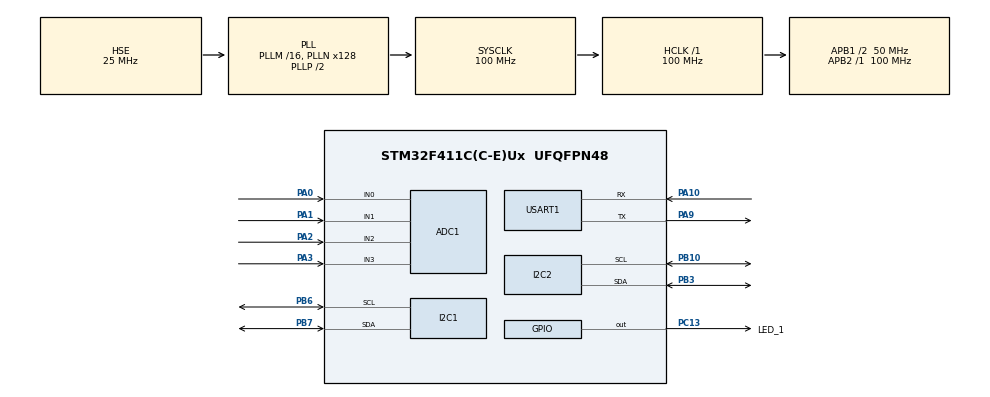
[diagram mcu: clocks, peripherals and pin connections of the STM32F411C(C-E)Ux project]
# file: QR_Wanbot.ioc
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ADC1.Channel-0\#ChannelRegularConversion=ADC_CHANNEL_0
ADC1.Channel-1\#ChannelRegularConversion=ADC_CHANNEL_1
ADC1.Channel-2\#ChannelRegularConversion=ADC_CHANNEL_2
ADC1.Channel-3\#ChannelRegularConversion=ADC_CHANNEL_3
ADC1.ContinuousConvMode=ENABLE
ADC1.DMAContinuousRequests=ENABLE
ADC1.EOCSelection=ADC_EOC_SEQ_CONV
ADC1.NbrOfConversion=4
ADC1.NbrOfConversionFlag=1
ADC1.Rank-0\#ChannelRegularConversion=1
ADC1.Rank-1\#ChannelRegularConversion=2
ADC1.Rank-2\#ChannelRegularConversion=3
ADC1.Rank-3\#ChannelRegularConversion=4
ADC1.SamplingTime-0\#ChannelRegularConversion=ADC_SAMPLETIME_480CYCLES
ADC1.SamplingTime-1\#ChannelRegularConversion=ADC_SAMPLETIME_480CYCLES
ADC1.SamplingTime-2\#ChannelRegularConversion=ADC_SAMPLETIME_480CYCLES
ADC1.SamplingTime-3\#ChannelRegularConversion=ADC_SAMPLETIME_480CYCLES
ADC1.ScanConvMode=ENABLE
ADC1.master=1
Dma.ADC1.0.Direction=DMA_PERIPH_TO_MEMORY
Dma.ADC1.0.FIFOMode=DMA_FIFOMODE_DISABLE
Dma.ADC1.0.Instance=DMA2_Stream0
Dma.ADC1.0.MemDataAlignment=DMA_MDATAALIGN_HALFWORD
Dma.ADC1.0.MemInc=DMA_MINC_ENABLE
Dma.ADC1.0.Mode=DMA_CIRCULAR
Dma.ADC1.0.PeriphDataAlignment=DMA_PDATAALIGN_HALFWORD
Dma.ADC1.0.PeriphInc=DMA_PINC_DISABLE
Dma.ADC1.0.Priority=DMA_PRIORITY_LOW
Dma.Request0=ADC1
FREERTOS.Tasks01=MainTask,24,1000,Mainfunc,Default,NULL,Dynamic,NULL,NULL;CalcTask,24,1000,CalcFunc,Default,NULL,Dynamic,NULL,NULL
FREERTOS.configTOTAL_HEAP_SIZE=20000
FREERTOS.configUSE_NEWLIB_REENTRANT=1
Mcu.Family=STM32F4
Mcu.Name=STM32F411C(C-E)Ux
Mcu.Package=UFQFPN48
NVIC.DMA2_Stream0_IRQn=true\:6\:0\:true\:false\:true\:false\:false\:true\:true
NVIC.PriorityGroup=NVIC_PRIORITYGROUP_4
NVIC.USART1_IRQn=true\:5\:0\:false\:true\:true\:1\:true\:true\:true\:true
PA0-WKUP.Signal=ADCx_IN0
PA1.Signal=ADCx_IN1
PA10.Mode=Asynchronous
PA10.Signal=USART1_RX
PA2.Signal=ADCx_IN2
PA3.Signal=ADCx_IN3
PA9.Mode=Asynchronous
PA9.Signal=USART1_TX
PB10.Mode=I2C
PB10.Signal=I2C2_SCL
PB3.Mode=I2C
PB3.Signal=I2C2_SDA
PB6.Mode=I2C
PB6.Signal=I2C1_SCL
PB7.Mode=I2C
PB7.Signal=I2C1_SDA
PC13-ANTI_TAMP.GPIO_Label=LED_1
PC13-ANTI_TAMP.Signal=GPIO_Output
PC14-OSC32_IN.Mode=LSE-External-Oscillator
PC14-OSC32_IN.Signal=RCC_OSC32_IN
PC15-OSC32_OUT.Mode=LSE-External-Oscillator
PC15-OSC32_OUT.Signal=RCC_OSC32_OUT
PH0\ -\ OSC_IN.Mode=HSE-External-Oscillator
PH0\ -\ OSC_IN.Signal=RCC_OSC_IN
PH1\ -\ OSC_OUT.Mode=HSE-External-Oscillator
PH1\ -\ OSC_OUT.Signal=RCC_OSC_OUT
ProjectManager.HeapSize=0x200
ProjectManager.StackSize=0x400
ProjectManager.TargetToolchain=STM32CubeIDE
RCC.48MHZClocksFreq_Value=50000000
RCC.AHBFreq_Value=100000000
RCC.APB1CLKDivider=RCC_HCLK_DIV2
RCC.APB1Freq_Value=50000000
RCC.APB1TimFreq_Value=100000000
RCC.APB2Freq_Value=100000000
RCC.APB2TimFreq_Value=100000000
RCC.CortexFreq_Value=100000000
RCC.HCLKFreq_Value=100000000
RCC.HSE_VALUE=25000000
RCC.HSI_VALUE=16000000
RCC.PLLN=128
RCC.PLLSourceVirtual=RCC_PLLSOURCE_HSE
RCC.SYSCLKFreq_VALUE=100000000
RCC.SYSCLKSource=RCC_SYSCLKSOURCE_PLLCLK
RCC.VCOOutputFreq_Value=200000000
SH.ADCx_IN0.0=ADC1_IN0,IN0
SH.ADCx_IN1.0=ADC1_IN1,IN1
SH.ADCx_IN2.0=ADC1_IN2,IN2
SH.ADCx_IN3.0=ADC1_IN3,IN3
USART1.VirtualMode=VM_ASYNC
VP_FREERTOS_VS_CMSIS_V2.Mode=CMSIS_V2
board=custom

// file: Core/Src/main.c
/* USER CODE BEGIN Header */
/**
  ******************************************************************************
  * @file           : main.c
  * @brief          : Main program body
  ******************************************************************************
  * @attention
  *
  * Copyright (c) 2025 STMicroelectronics.
  * All rights reserved.
  *
  * This software is licensed under terms that can be found in the LICENSE file
  * in the root directory of this software component.
  * If no LICENSE file comes with this software, it is provided AS-IS.
  *
  ******************************************************************************
  */
/* USER CODE END Header */
#include "main.h"
#include "cmsis_os.h"
#include "adc.h"
#include "dma.h"
#include "i2c.h"
#include "usart.h"
#include "gpio.h"

void SystemClock_Config(void);
void MX_FREERTOS_Init(void);
static void MX_NVIC_Init(void);

int main(void)
{

  /* MCU Configuration--------------------------------------------------------*/

  /* Reset of all peripherals, Initializes the Flash interface and the Systick. */
  HAL_Init();

  /* Configure the system clock */
  SystemClock_Config();

  /* Initialize all configured peripherals */
  MX_GPIO_Init();
  MX_DMA_Init();
  MX_I2C1_Init();
  MX_I2C2_Init();
  MX_USART1_UART_Init();
  MX_ADC1_Init();

  /* Initialize interrupts */
  MX_NVIC_Init();

  /* Init scheduler */
  osKernelInitialize();  /* Call init function for freertos objects (in cmsis_os2.c) */
  MX_FREERTOS_Init();

  /* Start scheduler */
  osKernelStart();

  /* We should never get here as control is now taken by the scheduler */

  /* Infinite loop */
  while (1)
  {

  }
}

void SystemClock_Config(void)
{
  RCC_OscInitTypeDef RCC_OscInitStruct = {0};
  RCC_ClkInitTypeDef RCC_ClkInitStruct = {0};

  /** Configure the main internal regulator output voltage
  */
  __HAL_RCC_PWR_CLK_ENABLE();
  __HAL_PWR_VOLTAGESCALING_CONFIG(PWR_REGULATOR_VOLTAGE_SCALE1);

  /** Initializes the RCC Oscillators according to the specified parameters
  * in the RCC_OscInitTypeDef structure.
  */
  RCC_OscInitStruct.OscillatorType = RCC_OSCILLATORTYPE_HSE;
  RCC_OscInitStruct.HSEState = RCC_HSE_ON;
  RCC_OscInitStruct.PLL.PLLState = RCC_PLL_ON;
  RCC_OscInitStruct.PLL.PLLSource = RCC_PLLSOURCE_HSE;
  RCC_OscInitStruct.PLL.PLLM = 16;
  RCC_OscInitStruct.PLL.PLLN = 128;
  RCC_OscInitStruct.PLL.PLLP = RCC_PLLP_DIV2;
  RCC_OscInitStruct.PLL.PLLQ = 4;
  if (HAL_RCC_OscConfig(&RCC_OscInitStruct) != HAL_OK)
  {
    Error_Handler();
  }

  /** Initializes the CPU, AHB and APB buses clocks
  */
  RCC_ClkInitStruct.ClockType = RCC_CLOCKTYPE_HCLK|RCC_CLOCKTYPE_SYSCLK
                              |RCC_CLOCKTYPE_PCLK1|RCC_CLOCKTYPE_PCLK2;
  RCC_ClkInitStruct.SYSCLKSource = RCC_SYSCLKSOURCE_PLLCLK;
  RCC_ClkInitStruct.AHBCLKDivider = RCC_SYSCLK_DIV1;
  RCC_ClkInitStruct.APB1CLKDivider = RCC_HCLK_DIV2;
  RCC_ClkInitStruct.APB2CLKDivider = RCC_HCLK_DIV1;

  if (HAL_RCC_ClockConfig(&RCC_ClkInitStruct, FLASH_LATENCY_3) != HAL_OK)
  {
    Error_Handler();
  }
}

/**
  * @brief NVIC Configuration.
  * @retval None
  */
static void MX_NVIC_Init(void)
{
  /* USART1_IRQn interrupt configuration */
  HAL_NVIC_SetPriority(USART1_IRQn, 5, 0);
  HAL_NVIC_EnableIRQ(USART1_IRQn);
}

void Error_Handler(void)
{
  /* USER CODE BEGIN Error_Handler_Debug */
  /* User can add his own implementation to report the HAL error return state */
	HAL_GPIO_WritePin(LED_1_GPIO_Port, LED_1_Pin, GPIO_PIN_RESET);
  __disable_irq();
  while (1)
  {
  }
  /* USER CODE END Error_Handler_Debug */
}

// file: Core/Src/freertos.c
/* USER CODE BEGIN Header */
/**
 ******************************************************************************
 * File Name          : freertos.c
 * Description        : Code for freertos applications
 ******************************************************************************
 * @attention
 *
 * Copyright (c) 2025 STMicroelectronics.
 * All rights reserved.
 *
 * This software is licensed under terms that can be found in the LICENSE file
 * in the root directory of this software component.
 * If no LICENSE file comes with this software, it is provided AS-IS.
 *
 ******************************************************************************
 */
/* USER CODE END Header */

#include "FreeRTOS.h"
#include "task.h"
#include "main.h"
#include "cmsis_os.h"

/* USER CODE BEGIN PTD */
typedef struct {
	float position[4][3];      // [leg][x,y,z]
	float body_angles[4][3];   // [leg][pitch,roll,yaw]
	float joint_angles[4][3];  // [leg][hip,thigh,calf]
	float rotation[3];         // [pitch,roll,yaw]
	float req_rotation[3];     // Requested orientation
	float velocity[3];         // [vx, vy, v_yaw]
	float offsets[4][3];       // Leg offsets
	float config_pitch_offset;
	float config_roll_offset;
	float step_height;
	float hind_step_height;
	float step_length;
	int step_pace;
} RobotState_t;

RobotState_t state;
Srv_Drv_t pca9865;
MPU6050_t mpu6050;
SPID_t pid_pitch;
SPID_t pid_roll;
/* USER CODE END PTD */

/* USER CODE BEGIN PD */
uint16_t pulses[12] = {0,0,0,0,0,0,0,0,0,0,0,0};

float pitch_error, pitch_output, pitch_sum;
float roll_error, roll_output, roll_sum;

float body_height = 0.169;
float X_setpoint = 0.00, prev_X_setpoint = 0.0, Y_setpoint = 0.00, prev_Y_setpoint = 0.00, Turn_setpoint = 0.0, prev_Turn_setpoint = 0.0;
char tx_buffer[128];
char rx_buffer[128];
char num_conv[6];
char rx;

uint16_t  AD_RES_BUFFER[4];
float  force_sensors[4];

uint8_t rx_index = 0;
uint8_t pressed_button = 0;
uint32_t ticks;
enum buttons{STOP=0, A, B, C, D, X, Y, START, L1, R1};
enum modes{WALK = 0, TROT, GALLOP, AUTO, CALIBRATION};
uint8_t slider_speed = 0.0, slider_angle = 0.0;
int J1x = 0.0, J1y = 0.0, J2x = 0.0, J2y = 0.0;
uint8_t mode;
uint8_t disable_inv = 0;
uint8_t stair_climb_mode = 0;
float stair_hieght_offset = 0.00;

#define K_PITCH_BALANCE_X -0.0000
#define K_ROLL_BALANCE_Y -0.0000

#define FL_HIEGHT_OFFSET 0.001
#define FR_HIEGHT_OFFSET -0.001
#define BL_HIEGHT_OFFSET 0.002
#define BR_HIEGHT_OFFSET -0.007

#define front_left_side_offset 0.000
#define back_left_side_offset 0.000

#define front_right_side_offset 0.00
#define back_right_side_offset 0.000

// Force Balancing
float force_height_offsets[4] = {0,0,0,0};
float force_sensor_offsets[4] = {90.47f, 88.12f, 88.46f, 88.02f};
#define K_FORCE_BALANCER 0.00005f
#define MAX_FORCE_HEIGHT_OFFSET 0.020f
#define FORCE_TOLERANCE 3.0f

#define K_RAIBERT 0.007f  // Raibert heuristic gain
#define SWING_HEIGHT 0.038f

#define START_IN_CALIBRATION 0 // Set to 1 to start in Calibration Mode [90,0,90]

/* USER CODE END PD */

/* Definitions for MainTask */
osThreadId_t MainTaskHandle;
const osThreadAttr_t MainTask_attributes = {
		.name = "MainTask",
		.stack_size = 1000 * 4,
		.priority = (osPriority_t) osPriorityNormal,
};
/* Definitions for CalcTask */
osThreadId_t CalcTaskHandle;
const osThreadAttr_t CalcTask_attributes = {
		.name = "CalcTask",
		.stack_size = 1000 * 4,
		.priority = (osPriority_t) osPriorityNormal,
};

void Square_Test(void);
void Walk_Forward_Test(void);

void Mainfunc(void *argument);
void CalcFunc(void *argument);

void MX_FREERTOS_Init(void); /* (MISRA C 2004 rule 8.1) */

void MX_FREERTOS_Init(void) {

	/* Create the thread(s) */
	/* creation of MainTask */
	MainTaskHandle = osThreadNew(Mainfunc, NULL, &MainTask_attributes);

	/* creation of CalcTask */
	CalcTaskHandle = osThreadNew(CalcFunc, NULL, &CalcTask_attributes);

}

void Mainfunc(void *argument)
{
	/* USER CODE BEGIN Mainfunc */
	//	disable_inv = 1;

#if START_IN_CALIBRATION
	mode = CALIBRATION;
#else
	Rise();
	mode = TROT;
#endif
	// HAL_UART_Init is already called in main.c
	HAL_UART_Receive_IT(&huart1, &rx, 1);
	HAL_ADC_Start_DMA(&hadc1, AD_RES_BUFFER, 4);

	for(;;)
	{
		ticks = HAL_GetTick();
		X_setpoint = (J1y * state.step_length) * 0.05 + prev_X_setpoint * 0.95;
		if(fabs(X_setpoint - 0.0) < 0.00002) X_setpoint = 0.0;
		prev_X_setpoint = X_setpoint;
		Y_setpoint = (J1x * state.step_length * 0.8)* 0.05 + prev_Y_setpoint * 0.95;
		if(fabs(Y_setpoint - 0.0) < 0.00002) Y_setpoint = 0.0;
		prev_Y_setpoint = Y_setpoint;
		Turn_setpoint = (J2x * state.step_length * 0.5) * 0.05 + prev_Turn_setpoint * 0.95;
		if(fabs(Turn_setpoint - 0.0) < 0.00002) Turn_setpoint = 0.0;
		prev_Turn_setpoint = Turn_setpoint;

		if (mode == CALIBRATION) {
			for(int i=0; i<4; i++) {
				state.joint_angles[i][0] = 1.5708f; // Hip 90
				state.joint_angles[i][1] = 3.14f;    // Upper 180
				state.joint_angles[i][2] = 1.5708f; // Lower 90
			}
		} else if(X_setpoint != 0.0 || Y_setpoint != 0.0 || state.rotation[2] != 0 || Turn_setpoint != 0.0){
			Gait_controller(ticks, X_setpoint, Y_setpoint, Turn_setpoint);
		}else{
			Stand();
		}

		if(stair_climb_mode == 0){
			state.req_rotation[0] = ((0.0025 * J2y) * 57.3248);
			state.req_rotation[1] = 0.0;
		}

		if(pressed_button == C){
			//			while(pressed_button == C);
			Walk_Forward_Test();
		}

		if(pressed_button == L1){
			state.rotation[2] = -0.12;
		}else if (pressed_button == R1){
			state.rotation[2] = 0.12;
		}else{
			state.rotation[2] = 0.0;
		}

		if (pressed_button == A){
			while(pressed_button == A);
			HiWave();
		}

		if (pressed_button == D){
			while(pressed_button == D);
			Square_Test();
			pressed_button = STOP;
		}

		//		if (pressed_button == C){
		//			while(pressed_button == C);
		//			Scratch();
		//		}

		if (pressed_button == X){
			while(pressed_button == X);
			stair_climb_mode += 1;
			if(stair_climb_mode>=2){
				stair_climb_mode=2;
			}

			sprintf(tx_buffer,"%d %d %s 0\r\n",(int)(-mpu6050.roll), (int)(mpu6050.pitch), stair_climb_mode == 2? "Flat Climb":"Inclined Climb");
			HAL_UART_Transmit_IT(&huart1, (uint8_t*)tx_buffer, strlen(tx_buffer));
		}

		if (pressed_button == Y){
			while(pressed_button == Y);
			stair_climb_mode -= 1;
			if(stair_climb_mode<=0){
				stair_climb_mode=0;
			}
			sprintf(tx_buffer,"%d %d %s 0\r\n",(int)(-mpu6050.roll), (int)(mpu6050.pitch), stair_climb_mode == 1? "Inclined Climb":"Trot");
			HAL_UART_Transmit_IT(&huart1, (uint8_t*)tx_buffer, strlen(tx_buffer));
		}

		if(stair_climb_mode == 2){
			state.config_pitch_offset = -0.15;
			stair_hieght_offset = 0.000;
			state.step_length = 0.00049;
			state.step_pace = 820;
			state.step_height = 0.055;
			state.hind_step_height = 0.060;

		}else if (stair_climb_mode == 1){
			state.config_pitch_offset = 2.95;
			stair_hieght_offset = 0.000;
			state.step_length = 0.00049;
			state.step_pace = 820;
			state.step_height = 0.055;
			state.hind_step_height = 0.060;

		}else{
			state.config_pitch_offset = -1.55; //1.55
			stair_hieght_offset = 0.0;
			state.step_length = 0.00038;
			state.step_pace = 650;
			state.step_height = 0.038;
			state.hind_step_height = 0.038;
		}

		if (pressed_button == B){
			//		HAL_UART_Transmit_IT(&huart1, data, strlen(data));
			while(pressed_button == B);
			if(mode == TROT){
				mode = WALK;
			}else if (mode == WALK){
				mode = TROT;
			}else if (mode == CALIBRATION){
				mode = TROT;
			}

			//			sprintf(data,"%d %d %s 0\r\n",(int)(-mpu6050.roll), (int)(mpu6050.pitch), mode? "Trot":"Walk");
			//			HAL_UART_Transmit_IT(&huart1, data, strlen(data));
		}

		//		sprintf(data,"%.3f %.3f %.3f %.3f\r\n", force_sensors[0], force_sensors[1], force_sensors[2], force_sensors[3]);
		//		sprintf(data,"waw\r\n");
		//
		//		HAL_UART_Transmit_IT(&huart1, data, strlen(data));
		//		HAL_GPIO_TogglePin(LED_1_GPIO_Port, LED_1_Pin);
		//		if(ticks == 0 && ticks == 2 && ticks == 3 && ticks == 5 && mode == TROT){

		//		sprintf(tx_buffer,"%f, %f\r\n",(-mpu6050.roll), (mpu6050.pitch));
		//		HAL_UART_Transmit_IT(&huart1, (uint8_t*)tx_buffer, strlen(tx_buffer));

		static uint32_t last_print = 0;
		if (mode != CALIBRATION && ticks - last_print >= 200) {
			last_print = ticks;
			sprintf(tx_buffer,"F:%.1f %.1f %.1f %.1f | O:%.3f %.3f %.3f %.3f\r\n",
					force_sensors[0], force_sensors[1], force_sensors[2], force_sensors[3],
					force_height_offsets[0], force_height_offsets[1], force_height_offsets[2], force_height_offsets[3]);
			HAL_UART_Transmit_IT(&huart1, (uint8_t*)tx_buffer, strlen(tx_buffer));
		}
		HAL_Delay(1);
		//		}else if (mode == TROT){
		//			HAL_Delay(175);
		//		}else{
		//			HAL_Delay(250);
		//		}

		// Initilization for Servo Motors
		//		FL_angles[0] = 1.57;
		//		FL_angles[1] = 1.57;
		//		FL_angles[2] = 1.57;
		//
		//		FR_angles[0] = 1.57;
		//		FR_angles[1] = 1.57;
		//		FR_angles[2] = 1.57;
		//		//
		//		BL_angles[0] = 1.57;
		//		BL_angles[1] = 1.57;
		//		BL_angles[2] = 1.57;
		//
		//		BR_angles[0] = 1.57;
		//		BR_angles[1] = 1.57;
		//		BR_angles[2] = 1.57;

		//Up Down Code
		//		FL_position[2] = 0.13;
		//		HAL_Delay(500);
		//		FL_position[2] = 0.15;
		//		HAL_Delay(500);

		// Jumping Code
		//		FL_position[2] = 0.09;
		//		HAL_Delay(500);
		//		FL_position[2] = 0.15;
		//		HAL_Delay(150);
		//		FL_position[2] = 0.09;
		//		HAL_Delay(1000);

	}
	/* USER CODE END Mainfunc */
}

void CalcFunc(void *argument)
{
	/* USER CODE BEGIN CalcFunc */
	//	disable_inv = 1;
	state.offsets[0][0] = 0.087; state.offsets[0][1] = 0.349; state.offsets[0][2] = 0.524;
	state.offsets[1][0] = -1.309; state.offsets[1][1] = -0.262; state.offsets[1][2] = 0.175;
	state.offsets[2][0] = -0.20; state.offsets[2][1] = -0.314; state.offsets[2][2] = 0.436;
	state.offsets[3][0] = -0.559; state.offsets[3][1] = 0.1921; state.offsets[3][2] = 0.18;

	state.config_pitch_offset = -0.55;
	state.config_roll_offset = -12.5;
	state.step_pace = 820;
	state.step_length = 0.00036;
	state.step_height = 0.036;
	state.hind_step_height = 0.036;

	HAL_Delay(300);
	ServoDriverInit(&pca9865, &hi2c1, SERVO_DRIVER_ADDRESS);
	MPUInit(&mpu6050, &hi2c2, MPU6050_DataRate_100Hz, MPU6050_Accelerometer_2G, MPU6050_Gyroscope_250s, 0.01, 0.5);
	MPUSetOffsets(&mpu6050, -944, -600, -590, 1130, 16, 923);
	SPIDInit(&pid_pitch, &pitch_error, &pitch_output, 0.01, 0.8, 0.05, 0.10, 0.10, 0.0005, 1.0/30.0, 0.20);
	SPIDInit(&pid_roll, &roll_error, &roll_output, 0.01, 0.8, 0.05, 0.10, 0.10, 0.0005, 1.0/30.0, 0.20);
	//		HAL_GPIO_TogglePin(GPIOC, GPIO_PIN_13);

	/* Infinite loop */
	for(;;)
	{
		//		osSemaphoreAcquire(sendSemaphoreHandle, osWaitForever);
#if START_IN_CALIBRATION

#else
		MPUReqAccGyro(&mpu6050);
		CompPitchRoll(&mpu6050);
		pitch_error = state.req_rotation[0] - (-mpu6050.roll + state.config_pitch_offset);  // Increase to move back
		roll_error = state.req_rotation[1] - (mpu6050.pitch +  state.config_roll_offset);  // decrease to tilt right
		if(fabsf(pitch_error) > 4.0){
			SPIDLoop(&pid_pitch);
			pitch_sum+=pitch_output;
			if (pitch_sum > 0.45) pitch_sum = 0.45;
			if (pitch_sum < -0.45) pitch_sum = -0.45;
			state.rotation[0]= pitch_sum;
		}
		if(fabsf(roll_error) > 4.0){
			SPIDLoop(&pid_roll);
			roll_sum+=roll_output;
			if (roll_sum > 0.45) roll_sum = 0.45;
			if (roll_sum < -0.45) roll_sum = -0.45;
			state.rotation[1]= roll_sum;

		}

		//		if(fabsf(state.rotation[0] - pitch_sum) >= 0.05)

		//		if(fabsf(state.rotation[1] - roll_sum) >= 0.05)

		//		--- Force Balancing Logic ---
		//		float total_force = 0;
		//		for (int i = 0; i < 4; i++) {
		//			total_force += force_sensors[i];
		//		}
		//		float avg_force = total_force / 4.0f;
		//
		//		float offset_sum = 0;
		//		for (int i = 0; i < 4; i++) {
		//			float force_error = force_sensors[i] - avg_force;
		//
		//			// Only adjust if error is outside tolerance (deadband)
		//			if (fabsf(force_error) > FORCE_TOLERANCE) {
		//				force_height_offsets[i] -= K_FORCE_BALANCER * force_error;
		//			}
		//			offset_sum += force_height_offsets[i];
		//		}
		//
		//		// Constrain sum of offsets to 0 to prevent the whole robot from sinking or rising
		//		float avg_offset = offset_sum / 4.0f;
		//		for (int i = 0; i < 4; i++) {
		//			force_height_offsets[i] -= avg_offset;
		//
		//			// Clamp the offset to prevent excessive leg movement
		//			if (force_height_offsets[i] > MAX_FORCE_HEIGHT_OFFSET) force_height_offsets[i] = MAX_FORCE_HEIGHT_OFFSET;
		//			if (force_height_offsets[i] < -MAX_FORCE_HEIGHT_OFFSET) force_height_offsets[i] = -MAX_FORCE_HEIGHT_OFFSET;
		//		}
		inverse_kinematics_all();
#endif

		load_angles();
		ServoDriverSetOnOff_Multi(&pca9865, 0, 12, pulses);
		HAL_Delay(5);
	}
	/* USER CODE END CalcFunc */
}

/* USER CODE BEGIN Application */
void HAL_UART_RxCpltCallback(UART_HandleTypeDef *huart){
	//	HAL_GPIO_TogglePin(GPIOC, GPIO_PIN_13);

	if(rx != '\n' && rx_index < 127){
		rx_buffer[rx_index] = rx;
		rx_index +=1;
	}else{
		rx_buffer[rx_index] = rx;
		rx_index = 0;

		switch(rx_buffer[0]){
		case 'A' :
			pressed_button = A;
			break;
		case 'B' :
			pressed_button = B;
			break;
		case 'C' :
			pressed_button = C;
			break;
		case 'D' :
			pressed_button = D;
			break;
		case 'X' :
			pressed_button = X;
			break;
		case 'Y' :
			pressed_button = Y;
			break;
		case 'R' :
			pressed_button = R1;
			break;
		case 'K' :
			mode = CALIBRATION;
			sprintf(tx_buffer, "Entering CALIBRATION Mode\r\n");
			HAL_UART_Transmit_IT(&huart1, (uint8_t*)tx_buffer, strlen(tx_buffer));
			break;
		case 'O' : // Offset command: O <leg> <joint> <value_deg>
		{
			int leg = 0, joint = 0;
			float val = 0.0f;
			// Format: O 0 1 5.5
			if (sscanf(rx_buffer, "O %d %d %f", &leg, &joint, &val) == 3) {
				if (leg >= 0 && leg < 4 && joint >= 0 && joint < 3) {
					state.offsets[leg][joint] = val * 0.0174533f; // Convert degrees to radians
					sprintf(tx_buffer, "Leg %d Offsets(rad): H:%.3f U:%.3f L:%.3f\r\n",
							leg, state.offsets[leg][0], state.offsets[leg][1], state.offsets[leg][2]);
					HAL_UART_Transmit_IT(&huart1, (uint8_t*)tx_buffer, strlen(tx_buffer));
				}
			}
		}
		break;
		case 'S' :
			if(rx_buffer[1] == 'T'){
				pressed_button = START;
			}else if(rx_buffer[1] == '1'){

				uint8_t joy_index = 2;
				memset(num_conv,'_',6);
				while( rx_buffer[joy_index] != '\n'){
					num_conv[joy_index] = rx_buffer[joy_index];
					joy_index+=1;
				}
				slider_speed = (uint8_t)(atoi(num_conv));

			}else if(rx_buffer[1] == '2'){

				uint8_t joy_index = 2;
				memset(num_conv,'_',6);
				while( rx_buffer[joy_index] != '\n'){
					num_conv[joy_index] = rx_buffer[joy_index];
					joy_index+=1;
				}
				slider_angle = (uint8_t)(atoi(num_conv));

			}else{
				pressed_button = STOP;
				J1x = 0.0;
				J1y = 0.0;
				J2y = 0.0;
				J2x = 0.0;
			}
			break;
		case 'J':
			if(rx_buffer[1] == '1'){
				uint8_t joy_index = 2;
				uint8_t second_index = 0;
				memset(num_conv,'_',6);

				while( rx_buffer[joy_index] != ' '){
					num_conv[second_index] = rx_buffer[joy_index];
					joy_index+=1;
					second_index+=1;
				}

				J1x = (atoi(num_conv));
				//				if(J1x > 100) J1x = 100;
				//				if(J1x < -100) J1x = -100;

				memset(num_conv,'_',6);

				second_index = 0;
				joy_index+=1;

				while( rx_buffer[joy_index] != '\n'){
					num_conv[second_index] = rx_buffer[joy_index];
					joy_index+=1;
					second_index+=1;
				}
				J1y = (atoi(num_conv));
				//				if(J1y > 100) J1y = 100;
				//				if(J1y < -100) J1y = -100;

			}else if(rx_buffer[1] == '2'){
				uint8_t joy_index = 2;
				uint8_t second_index = 0;
				memset(num_conv,'_',6);

				while( rx_buffer[joy_index] != ' '){
					num_conv[second_index] = rx_buffer[joy_index];
					joy_index+=1;
					second_index+=1;
				}
				J2x = (atoi(num_conv));
				//				if(J2x > 100) J2x = 100;
				//				if(J2x < -100) J2x = -100;

				memset(num_conv,'_',6);
				second_index = 0;
				joy_index+=1;

				while( rx_buffer[joy_index] != '\n'){
					num_conv[second_index] = rx_buffer[joy_index];
					joy_index+=1;
					second_index+=1;
				}
				J2y = (atoi(num_conv));
				//				if(J2y > 100) J2y = 100;
				//				if(J2y < -100) J2y = -100;
			}
			break;
		}
		memset(rx_buffer,'0',20);
	}

	HAL_UART_Receive_IT(&huart1, &rx, 1);

}

void HAL_ADC_ConvCpltCallback(ADC_HandleTypeDef* hadc)
{
	// Conversion Complete & DMA Transfer Complete As Well
	// So The AD_RES_BUFFER Is Now Updated
	force_sensors[0] = ((float)((AD_RES_BUFFER[0] << 4) - 35000)*0.003f) - force_sensor_offsets[0];  // ADC CH1
	force_sensors[1] = ((float)((AD_RES_BUFFER[1] << 4) - 35000)*0.003f) - force_sensor_offsets[1];  // ADC CH2
	force_sensors[2] = ((float)((AD_RES_BUFFER[2] << 4) - 35000)*0.003f) - force_sensor_offsets[2];  // ADC CH3
	force_sensors[3] = ((float)((AD_RES_BUFFER[3] << 4) - 35000)*0.003f) - force_sensor_offsets[3];  // ADC CH4
}

float clamp(float value, float min, float max){
	if(value < min) return min;
	if(value > max) return max;
	return value;
}

void inverse_leg_kinematics(float position[], float angles[], uint8_t leg_index, float rotation[]){

	if(position[0] == 0.0) position[0] = -0.00001;
	if(position[1] == 0.0) position[1] = -0.00001;

	//	if(position[2] >= 0.18) position[2] = 0.18;

	float pitch_offset = sin(rotation[0]) * (body_length/2);
	float x_pitch_offset = ((position[2] - pitch_offset) * tan(rotation[0])  * 0.2);

	float roll_offset = sin(rotation[1]) * (body_width/2);
	float y_roll_offset = ((position[2] - roll_offset) * tan(rotation[1]) * 0.2);
	float current_yaw,new_width, new_length, H_leg, new_yaw,new_height,new_x,new_y,H1y,H2y,phi, phi2,theta,Hx,trident ;

	switch(leg_index){
	case 1:
		new_height = position[2] - pitch_offset + roll_offset + FL_HIEGHT_OFFSET + force_height_offsets[0];
		new_y = -position[1] + y_roll_offset - Y_offset;
		new_x = position[0] - x_pitch_offset - X_offset + front_left_side_offset;
		H_leg = hypot(-body_width/2.0 + new_y,body_length/2.0 + new_x);
		current_yaw = atan2(body_length/2.0 + new_x, -body_width/2.0 + new_y);
		new_yaw = current_yaw + rotation[2];
		new_width = cos(new_yaw) * H_leg;
		new_length = sin(new_yaw) * H_leg;
		new_x = new_length - body_length/2.0;
		new_y = new_width + body_width/2.0 - balance_offset;
		break;
	case 2:
		new_height = position[2] - pitch_offset - roll_offset +  FR_HIEGHT_OFFSET + force_height_offsets[1];
		new_y = position[1] - y_roll_offset + Y_offset;
		new_x = position[0] - x_pitch_offset - X_offset + front_right_side_offset;
		H_leg = hypot(body_width/2.0 + new_y,body_length/2.0 + new_x);
		current_yaw = atan2(body_length/2.0 + new_x, body_width/2.0 + new_y);
		new_yaw = current_yaw + rotation[2];
		new_width = cos(new_yaw) * H_leg;
		new_length = sin(new_yaw) * H_leg;
		new_x = new_length - body_length/2.0;
		new_y = new_width - body_width/2.0 - balance_offset;
		break;
	case 3:
		new_height = position[2] + pitch_offset + roll_offset + BL_HIEGHT_OFFSET + force_height_offsets[2];
		new_y = -position[1] + y_roll_offset - Y_offset;
		new_x = position[0] - x_pitch_offset - X_offset - hind_leg_offest + back_left_side_offset;
		H_leg = hypot(-body_width/2.0 + new_y,-body_length/2.0 + new_x);
		current_yaw = atan2(-body_length/2.0 + new_x, -body_width/2.0 + new_y);
		new_yaw = current_yaw + rotation[2];
		new_width = cos(new_yaw) * H_leg;
		new_length = sin(new_yaw) * H_leg;
		new_x = new_length + body_length/2.0;
		new_y = new_width + body_width/2.0 - balance_offset;
		break;
	case 4:
		new_height = position[2] + pitch_offset - roll_offset + BR_HIEGHT_OFFSET + force_height_offsets[3];
		new_y = position[1] - y_roll_offset + Y_offset;
		new_x = position[0] - x_pitch_offset - X_offset - hind_leg_offest + back_right_side_offset;
		H_leg = hypot(body_width/2.0 + new_y,-body_length/2.0 + new_x);
		current_yaw = atan2(-body_length/2.0 + new_x, body_width/2.0 + new_y);
		new_yaw = current_yaw + rotation[2];
		new_width = cos(new_yaw) * H_leg;
		new_length = sin(new_yaw) * H_leg;
		new_x = new_length + body_length/2.0;
		new_y = new_width - body_width/2.0 - balance_offset;
		break;
	}

	H1y = hypot(new_y,new_height);
	H2y = sqrtf(fmaxf(0.0f, pow(H1y,2)- pow(Y_offset,2)));
	phi = atan2(new_y,new_height);

	float arg_phi2 = Y_offset/H2y;
	if (H2y < 0.00001f) arg_phi2 = 1.0f;
	phi2 = acos(clamp(arg_phi2, -1.0f, 1.0f));
	angles[0] = phi  + phi2;

	theta = atan2(new_x,H2y);
	Hx = hypot(new_x,H2y);

	// --- Explicit Reach Clamping ---
	// Prevent leg from snapping straight or folding too tight
	float max_reach = upper_leg_len + lower_leg_len - 0.001f; // 1mm buffer
	float min_reach = fabsf(upper_leg_len - lower_leg_len) + 0.001f;

	if (Hx > max_reach) Hx = max_reach;
	if (Hx < min_reach) Hx = min_reach;

	float arg_trident = (pow(Hx,2) + pow(upper_leg_len,2) - pow(lower_leg_len,2)) / (2 * Hx * upper_leg_len);
	if (Hx < 0.00001f) arg_trident = 1.0f;
	trident =  acos(clamp(arg_trident, -1.0f, 1.0f));

	angles[1] = trident - theta + 1.5707;

	float arg_knee = (pow(lower_leg_len,2) + pow(upper_leg_len,2) - pow(Hx,2)) / (2 * lower_leg_len * upper_leg_len);
	angles[2] = acos(clamp(arg_knee, -1.0f, 1.0f));
	//	adjust_servo_angles(angles,leg_index);

}

void inverse_kinematics_all(void){
	inverse_leg_kinematics(state.position[0], state.joint_angles[0], 1, state.body_angles[0]);
	inverse_leg_kinematics(state.position[1], state.joint_angles[1], 2, state.body_angles[1]);
	inverse_leg_kinematics(state.position[2], state.joint_angles[2], 3, state.body_angles[2]);
	inverse_leg_kinematics(state.position[3], state.joint_angles[3], 4, state.body_angles[3]);
}

void load_leg_position(float positions[], float x, float y, float z, float angles[], float p, float r, float yaw){
	positions[0] = x;
	positions[1] = y;
	positions[2] = z;

	angles[0] = p;
	angles[1] = r;
	angles[2] = yaw;
}

void load_angles(){

	pulses[0] = (650 - angle_to_pulse(state.joint_angles[0][0] + state.offsets[0][0]));
	pulses[1] = (650 - angle_to_pulse(state.joint_angles[0][1] + state.offsets[0][1]));
	pulses[2] = angle_to_pulse(state.joint_angles[0][2] + state.offsets[0][2]);

	pulses[3] = angle_to_pulse(state.joint_angles[1][0] + state.offsets[1][0]);
	pulses[4] = angle_to_pulse(state.joint_angles[1][1] + state.offsets[1][1]) ;
	pulses[5] = (650 - angle_to_pulse(state.joint_angles[1][2] + state.offsets[1][2]));

	pulses[6] = angle_to_pulse(state.joint_angles[2][0] + state.offsets[2][0]);
	pulses[7] = (650 - angle_to_pulse(state.joint_angles[2][1] + state.offsets[2][1]));
	pulses[8] = angle_to_pulse(state.joint_angles[2][2] + state.offsets[2][2]);

	pulses[9] = (650 - angle_to_pulse(state.joint_angles[3][0] + state.offsets[3][0]));
	pulses[10] = angle_to_pulse(state.joint_angles[3][1] + state.offsets[3][1]) ;
	pulses[11] = (650 - angle_to_pulse(state.joint_angles[3][2] + state.offsets[3][2]));

}

void Stand(){
	load_leg_position(state.position[0], 0.0, 0.0, body_height, state.body_angles[0], state.rotation[0], state.rotation[1], state.rotation[2]);
	load_leg_position(state.position[1], 0.0, 0.0, body_height, state.body_angles[1], state.rotation[0], state.rotation[1], state.rotation[2]);
	load_leg_position(state.position[2], 0.0, 0.0, body_height, state.body_angles[2], state.rotation[0], state.rotation[1], state.rotation[2]);
	load_leg_position(state.position[3], 0.0, 0.0, body_height, state.body_angles[3], state.rotation[0], state.rotation[1], state.rotation[2]);
}

void Gait_controller (uint32_t ticks, float x_setpoint, float y_setpoint, float turn_setpoint){

	if(mode == WALK){
		leg_cycle(state.position[0], 1, WALK, ticks, x_setpoint + turn_setpoint, y_setpoint, state.body_angles[0], state.rotation[0], state.rotation[1], state.rotation[2]);
		leg_cycle(state.position[1], 2, WALK, ticks, x_setpoint - turn_setpoint, y_setpoint, state.body_angles[1], state.rotation[0], state.rotation[1], state.rotation[2]);
		leg_cycle(state.position[2], 3, WALK, ticks, x_setpoint + turn_setpoint, y_setpoint, state.body_angles[2], state.rotation[0], state.rotation[1], state.rotation[2]);
		leg_cycle(state.position[3], 4, WALK, ticks, x_setpoint - turn_setpoint, y_setpoint, state.body_angles[3], state.rotation[0], state.rotation[1], state.rotation[2]);

	}else if(mode == TROT){
		leg_cycle(state.position[0], 1, TROT, ticks, x_setpoint + turn_setpoint, y_setpoint, state.body_angles[0], state.rotation[0], state.rotation[1], state.rotation[2]);
		leg_cycle(state.position[1], 2, TROT, ticks, x_setpoint - turn_setpoint, y_setpoint, state.body_angles[1], state.rotation[0], state.rotation[1], state.rotation[2]);
		leg_cycle(state.position[2], 3, TROT, ticks, x_setpoint + turn_setpoint, y_setpoint, state.body_angles[2], state.rotation[0], state.rotation[1], state.rotation[2]);
		leg_cycle(state.position[3], 4, TROT, ticks, x_setpoint - turn_setpoint, y_setpoint, state.body_angles[3], state.rotation[0], state.rotation[1], state.rotation[2]);
	}
	else if (mode == GALLOP){
		//
		//		switch(ticks){
		//
		//		case 0:
		//			load_leg_position(FL_position,x_setpoint,y_setpoint,body_height-step_height, FL_body_angles, 0, 0, 0);
		//			load_leg_position(FR_position,-x_setpoint,-y_setpoint,body_height, FR_body_angles, 0, 0, 0);
		//			load_leg_position(BL_position,-x_setpoint,-y_setpoint,body_height, BL_body_angles, 0, 0, 0);
		//			load_leg_position(BR_position,x_setpoint,y_setpoint,body_height-step_height, BR_body_angles, 0, 0, 0);
		//			break;
		//		case 1:
		//			load_leg_position(FL_position,x_setpoint,y_setpoint,body_height, FL_body_angles, 0, 0, 0);
		//			load_leg_position(FR_position,-x_setpoint,-y_setpoint,body_height, FR_body_angles, 0, 0, 0);
		//			load_leg_position(BL_position,-x_setpoint,-y_setpoint,body_height, BL_body_angles, 0, 0, 0);
		//			load_leg_position(BR_position,x_setpoint,y_setpoint,body_height, BR_body_angles, 0, 0, 0);
		//			break;
		//		case 2:
		//			load_leg_position(FL_position,x_setpoint,y_setpoint,body_height, FL_body_angles, 0, 0, 0);
		//			load_leg_position(FR_position,-x_setpoint,-y_setpoint,body_height - step_height, FR_body_angles, 0, 0, 0);
		//			load_leg_position(BL_position,-x_setpoint,-y_setpoint,body_height - step_height, BL_body_angles, 0, 0, 0);
		//			load_leg_position(BR_position,x_setpoint,y_setpoint,body_height, BR_body_angles, 0, 0, 0);
		//			break;
		//		case 3:
		//			load_leg_position(FL_position,-x_setpoint,-y_setpoint,body_height, FL_body_angles, 0, 0, 0);
		//			load_leg_position(FR_position,x_setpoint,y_setpoint,body_height - step_height, FR_body_angles, 0, 0, 0);
		//			load_leg_position(BL_position,x_setpoint,y_setpoint,body_height - step_height, BL_body_angles, 0, 0, 0);
		//			load_leg_position(BR_position,-x_setpoint,-y_setpoint,body_height, BR_body_angles, 0, 0, 0);
		//			break;
		//		case 4:
		//			load_leg_position(FL_position,-x_setpoint,-y_setpoint,body_height, FL_body_angles, 0, 0, 0);
		//			load_leg_position(FR_position,x_setpoint,y_setpoint,body_height, FR_body_angles, 0, 0, 0);
		//			load_leg_position(BL_position,x_setpoint,y_setpoint,body_height, BL_body_angles, 0, 0, 0);
		//			load_leg_position(BR_position,-x_setpoint,-y_setpoint,body_height, BR_body_angles, 0, 0, 0);
		//			break;
		//		case 5:
		//			load_leg_position(FL_position,-x_setpoint,-y_setpoint,body_height - step_height, FL_body_angles, 0, 0, 0);
		//			load_leg_position(FR_position,x_setpoint,y_setpoint,body_height, FR_body_angles, 0, 0, 0);
		//			load_leg_position(BL_position,x_setpoint,y_setpoint,body_height, BL_body_angles, 0, 0, 0);
		//			load_leg_position(BR_position,-x_setpoint,-y_setpoint,body_height - step_height, BR_body_angles, 0, 0, 0);
		//			break;
		//		}
	}
}

int angle_to_pulse(float angle){
	int pulse;

	pulse = (uint16_t)(angle * 90.7549) + 115;

	if (pulse > 535) pulse = 535;
	if (pulse < 115) pulse = 115;

	return pulse;
}

void Rise(){

	float position = 0.04;
	for ( int j = 0; j < 100; j++){
		position += 0.0013;
		state.position[0][2] = position;
		state.position[1][2] = position;
		state.position[2][2] = position;
		state.position[3][2] = position;
		HAL_Delay(10);
	}
}

// --- Configuration ---
// -- TROT SPECIFIC --
#define TROT_SWING_END 0.49

// -- WALK SPECIFIC --
#define WALK_SWING_END 0.25

// --- Bezier Trajectory Functions ---

/**
 * @brief 5th-order Bezier curve for smooth swing trajectories.
 * @param t Progress (0.0 to 1.0)
 * @param p0 Start point
 * @param p1 Control point 1
 * @param p2 Control point 2
 * @param p3 Control point 3
 * @param p4 Control point 4
 * @param p5 End point
 */
float bezier_5th(float t, float p0, float p1, float p2, float p3, float p4, float p5) {
	float t2 = t * t;
	float t3 = t2 * t;
	float t4 = t3 * t;
	float t5 = t4 * t;
	float mt = 1.0f - t;
	float mt2 = mt * mt;
	float mt3 = mt2 * mt;
	float mt4 = mt3 * mt;
	float mt5 = mt4 * mt;

	return p0*mt5 + 5*p1*mt4*t + 10*p2*mt3*t2 + 10*p3*mt2*t3 + 5*p4*mt*t4 + p5*t5;
}

/**
 * @brief Simple 1D Bezier with defaults for swing height.
 */
float swing_bezier_z(float t, float height) {
	// Standard swing profile: [0, 0, height*1.5, height*1.5, 0, 0]
	return bezier_5th(t, 0.0f, 0.0f, height*2.0f, height*2.0f, 0.0f, 0.0f);
}

void leg_cycle(float positions[], uint8_t leg, uint8_t mode, uint32_t ticks, float x_setpoint, float y_setpoint, float angles[], float p, float r, float yaw) {
	float adjusted_time_in_cycle = 0.0f;
	float stance_time = (float)state.step_pace / 1000.0f * (1.0f - TROT_SWING_END);

	if (mode == TROT) {
		adjusted_time_in_cycle = (double)(ticks % state.step_pace) / (float)state.step_pace;

		if (leg == 2 || leg == 3) {
			adjusted_time_in_cycle = fmod(adjusted_time_in_cycle + 0.5, 1.0);
		}

		if (adjusted_time_in_cycle < TROT_SWING_END) {
			// SWING PHASE
			float swing_progress = adjusted_time_in_cycle / TROT_SWING_END;

			// --- Raibert Heuristic Foot Placement ---
			// Predict touchdown location based on current "velocity" (setpoint)
			float touchdown_x = x_setpoint + (stance_time / 2.0f) * x_setpoint * K_RAIBERT;
			float touchdown_y = y_setpoint + (stance_time / 2.0f) * y_setpoint * K_RAIBERT;

			positions[0] = bezier_5th(swing_progress, -x_setpoint, -x_setpoint, 0, 0, touchdown_x, touchdown_x);
			positions[1] = bezier_5th(swing_progress, -y_setpoint, -y_setpoint, 0, 0, touchdown_y, touchdown_y);

			float base_z = swing_bezier_z(swing_progress, state.step_height);
			positions[2] = body_height - base_z;
			angles[2] = generate_smooth_xy_trajectory(-yaw, yaw, swing_progress);

		} else {
			// STANCE PHASE
			float raw_progress = (adjusted_time_in_cycle - TROT_SWING_END) / (1.0f - TROT_SWING_END);
			float stance_progress = fmaxf(0.0f, raw_progress);

			positions[0] = x_setpoint + (-x_setpoint - x_setpoint) * stance_progress;
			positions[1] = y_setpoint + (-y_setpoint - y_setpoint) * stance_progress;
			positions[2] = body_height;
			angles[2] = yaw + (-yaw - yaw) * stance_progress;
		}

	} else if (mode == WALK) {
		adjusted_time_in_cycle = (double)(ticks % 2000) / 2000.0;

		if (leg == 2) adjusted_time_in_cycle = fmod(adjusted_time_in_cycle + 0.25, 1.0);
		else if (leg == 3) adjusted_time_in_cycle = fmod(adjusted_time_in_cycle + 0.5, 1.0);
		else if (leg == 4) adjusted_time_in_cycle = fmod(adjusted_time_in_cycle + 0.75, 1.0);

		if (adjusted_time_in_cycle < WALK_SWING_END) {
			// SWING PHASE
			float swing_progress = adjusted_time_in_cycle / WALK_SWING_END;

			positions[0] = generate_smooth_xy_trajectory(-x_setpoint, x_setpoint, swing_progress);
			positions[1] = generate_smooth_xy_trajectory(-y_setpoint, y_setpoint, swing_progress);

			float base_z;
			if (stair_climb_mode > 0) {
				base_z = generate_step_z_trajectory(swing_progress, state.step_height);
			} else {
				base_z = generate_smooth_z_trajectory(swing_progress, state.step_height);
			}

			positions[2] = body_height - base_z;
			angles[2] = 0;

		} else {
			// STANCE PHASE
			float raw_progress = (adjusted_time_in_cycle - WALK_SWING_END) / (1.0f - WALK_SWING_END);
			float stance_progress = fmaxf(0.0f, raw_progress);

			positions[0] = x_setpoint + (-x_setpoint - x_setpoint) * stance_progress; // Linear stance
			positions[1] = y_setpoint + (-y_setpoint - y_setpoint) * stance_progress;
			positions[2] = body_height;
			angles[2] = 0;
		}
	}
	angles[0] = p;
	angles[1] = r;
}

float generate_smooth_xy_trajectory(float min, float max, float t){
	float s_curve = t - (1.0f / 6.283185f) * sinf(6.283185f * t);
	return min + (max - min) * s_curve;
}

float generate_smooth_z_trajectory(float t, float height) {
	return height * (1.0f - cosf(6.283185f * t)) / 2.0f;
}

float generate_step_z_trajectory(float t, float max_height) {
	// Phase 1: Lift (0.0 to 0.3) - Move Z from body_height (drop 0) up to peak (drop max_height)
	if (t <= 0.2) {
		float t_rel = t / 0.2;
		return max_height * t_rel;
	}
	// Phase 2: Hold (0.2 to 0.8) - Maintain peak height while moving forward
	else if (t <= 0.8) {
		return max_height;
	}
	// Phase 3: Descent (0.8 to 1.0) - Move Z from peak (drop max_height) back down to ground (drop 0)
	else {
		float t_rel = (t - 0.8) / 0.2;
		return max_height * (1.0 - t_rel);
	}
}

void Walk_Forward_Test(void){
	float speed_setpoint = 0.045;
	float estimated_velocity = (2.0 * speed_setpoint) * (1000.0 / (float)state.step_pace);
	uint32_t duration = 6000; // Run for 6 seconds

	uint32_t start_time = HAL_GetTick();

	while((HAL_GetTick() - start_time) < duration){
		ticks = HAL_GetTick();
		Gait_controller(ticks, speed_setpoint, 0.0, 0.0);

		// Print IMU data
		sprintf(tx_buffer,"%f, %f\r\n",(-mpu6050.roll), (mpu6050.pitch));
		HAL_UART_Transmit_IT(&huart1, (uint8_t*)tx_buffer, strlen(tx_buffer));

		HAL_Delay(20);
	}
	Stand();
	HAL_Delay(500);

	pressed_button = STOP;
}

void Square_Test(void){

	float speed_setpoint = 0.035; // 3.5cm half-stride -> 7cm stride
	// Estimate velocity: Stride * Frequency
	// Frequency = 1000 ms / step_pace
	// Stride = 2 * speed_setpoint
	// Velocity = (2 * 0.035) * (1000 / 820) approx 0.085 m/s

	float estimated_velocity = (2.0 * speed_setpoint) * (1000.0 / (float)state.step_pace);
	uint32_t duration = (uint32_t)((1.0 / estimated_velocity) * 1000); // Duration for 1m in ms

	uint32_t start_time = 0;

	// 1. Move Forward (+X)
	start_time = HAL_GetTick();
	while((HAL_GetTick() - start_time) < duration){
		ticks = HAL_GetTick();
		Gait_controller(ticks, speed_setpoint, 0.0, 0.0);
		HAL_Delay(1);
	}
	Stand();
	HAL_Delay(500);

	// 2. Move Right (-Y) (Assuming Y is Left)
	start_time = HAL_GetTick();
	while((HAL_GetTick() - start_time) < duration){
		ticks = HAL_GetTick();
		Gait_controller(ticks, 0.0, -speed_setpoint, 0.0);
		HAL_Delay(1);
	}
	Stand();
	HAL_Delay(500);

	// 3. Move Backward (-X)
	start_time = HAL_GetTick();
	while((HAL_GetTick() - start_time) < duration){
		ticks = HAL_GetTick();
		Gait_controller(ticks, -speed_setpoint, 0.0, 0.0);
		HAL_Delay(1);
	}
	Stand();
	HAL_Delay(500);

	// 4. Move Left (+Y)
	start_time = HAL_GetTick();
	while((HAL_GetTick() - start_time) < duration){
		ticks = HAL_GetTick();
		Gait_controller(ticks, 0.0, speed_setpoint, 0.0);
		HAL_Delay(1);
	}
	Stand();
	HAL_Delay(1000);

}

void HiWave(){
	disable_inv = 1;

	state.position[2][0] = 0.02; // BL X
	state.position[3][0] = 0.02; // BR X
	state.position[0][0] = -0.02; // FL X

	state.position[2][2] = 0.16; // BL Z
	state.position[3][2] = 0.16; // BR Z

	state.position[0][2] = 0.21; // FL Z
	state.position[1][2] = 0.21; // FR Z

	HAL_Delay(1000);

	for (int i = 0; i < 10; i++){
		state.position[1][2] -= 0.01;   // FR Z
		state.position[1][0] += 0.008;  // FR X
		state.position[0][1] = -0.008; // FL Y
		HAL_Delay(100);
	}

	for (int i = 0; i < 6; i++){
		HAL_Delay(400);
		state.position[1][1] = -0.005; // FR Y
		HAL_Delay(400);
		state.position[1][1] = -0.01;  // FR Y
	}

	disable_inv = 0;
}

void Scratch(){
	disable_inv = 1;

	state.position[2][0] = 0.02; // BL X
	state.position[3][0] = 0.02; // BR X
	state.position[0][0] = -0.02; // FL X

	state.position[2][2] = 0.16; // BL Z
	state.position[3][2] = 0.16; // BR Z

	state.position[0][2] = 0.21; // FL Z
	state.position[1][2] = 0.21; // FR Z

	HAL_Delay(1000);

	state.position[1][2] = 0.06; // FR Z
	state.position[1][0] = 0.05; // FR X

	for (int i = 0; i < 15; i++){
		HAL_Delay(100);
		state.position[1][1] = -0.005; // FR Y
		HAL_Delay(100);
		state.position[1][1] = -0.01;  // FR Y
	}

	disable_inv = 0;
}

/* USER CODE END Application */
